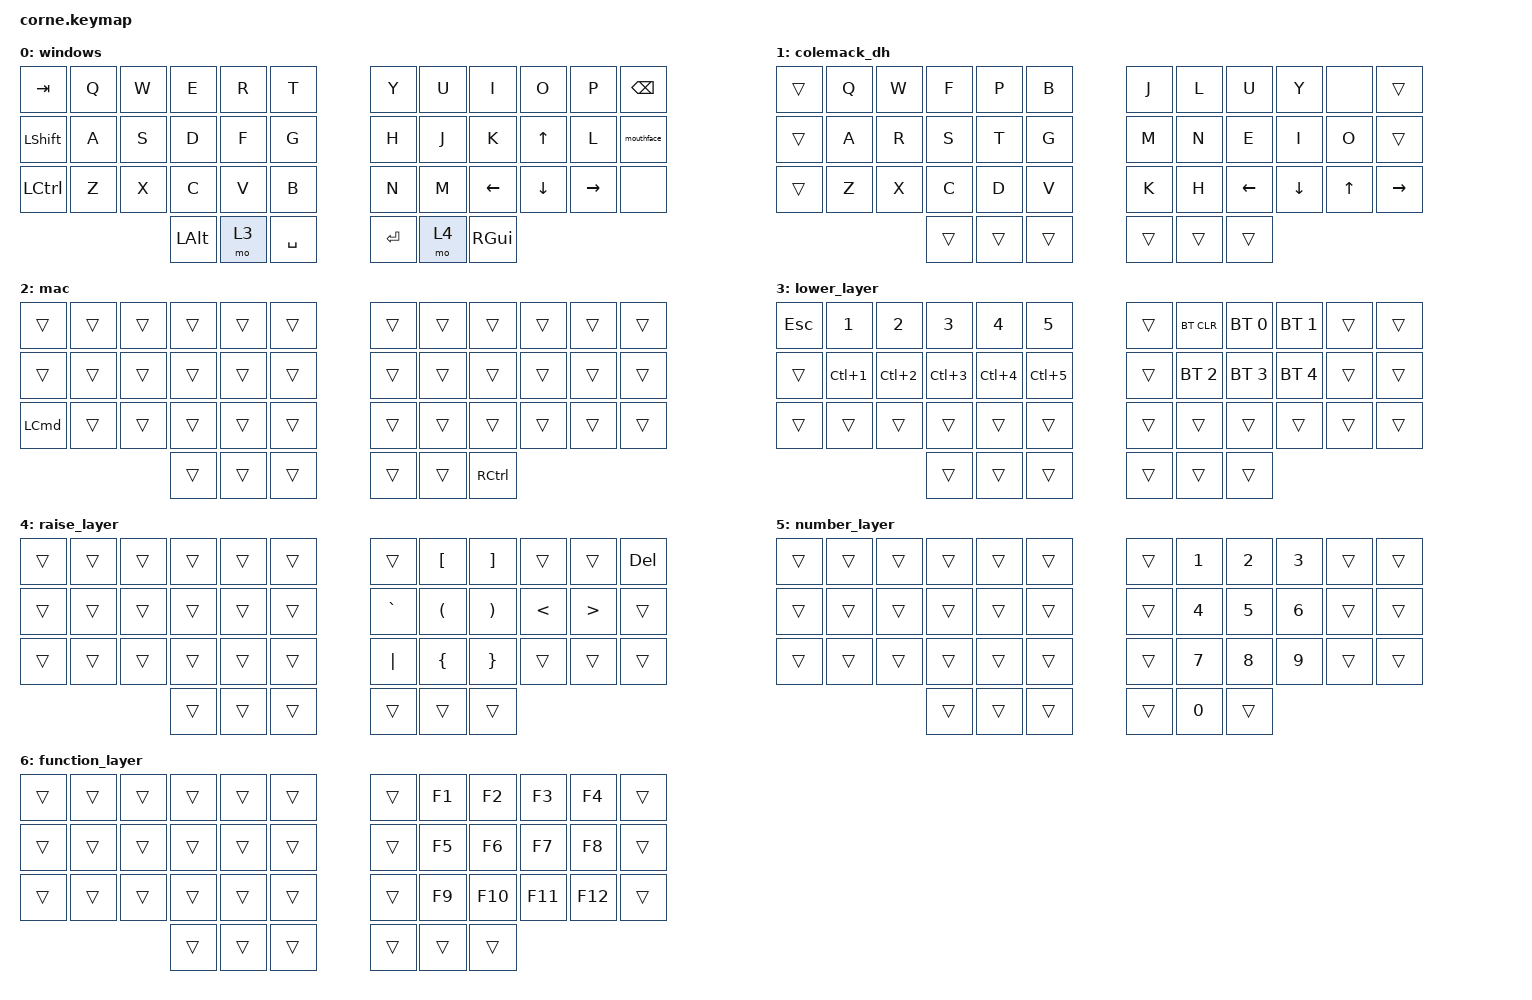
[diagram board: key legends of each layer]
/*
 * Copyright (c) 2020 The ZMK Contributors
 *
 * SPDX-License-Identifier: MIT
 */

#include <behaviors.dtsi>
#include <dt-bindings/zmk/bt.h>
#include <dt-bindings/zmk/keys.h>

/ {
    combos {
        compatible = "zmk,combos";

        layout_swap {
            bindings = <&tog 1>;
            key-positions = <37 40>;
            layers = <0 1 2>;
        };

        number_layer {
            bindings = <&mo 5>;
            key-positions = <15 16>;
            layers = <0 1 2>;
        };

        function_layer {
            bindings = <&mo 6>;
            key-positions = <4 5>;
            layers = <0 1 2>;
        };

        period {
            bindings = <&kp PERIOD>;
            key-positions = <21 22>;
        };

        comma {
            bindings = <&kp COMMA>;
            key-positions = <20 21>;
        };

        colon {
            bindings = <&kp COLON>;
            key-positions = <19 21 22>;
        };

        semicolon {
            bindings = <&kp SEMICOLON>;
            key-positions = <19 20 21>;
        };

        apostrophe {
            bindings = <&kp APOSTROPHE>;
            key-positions = <8 21>;
        };

        quote {
            bindings = <&kp DOUBLE_QUOTES>;
            key-positions = <7 21>;
        };

        underscore {
            bindings = <&kp UNDERSCORE>;
            key-positions = <30 31>;
        };

        minus {
            bindings = <&kp MINUS>;
            key-positions = <18 19>;
        };

        equals {
            bindings = <&kp EQUAL>;
            key-positions = <6 7>;
        };

        plus {
            bindings = <&kp PLUS>;
            key-positions = <18 19 20>;
        };

        forward_slash {
            bindings = <&kp SLASH>;
            key-positions = <31 20 9>;
        };

        backslash {
            bindings = <&kp BACKSLASH>;
            key-positions = <7 20 33>;
        };

        caret {
            bindings = <&kp CARET>;
            key-positions = <19 8 21>;
        };

        tilde {
            bindings = <&kp TILDE>;
            key-positions = <19 10>;
        };

        grave {
            bindings = <&kp GRAVE>;
            key-positions = <6 19>;
        };

        percent {
            bindings = <&kp PERCENT>;
            key-positions = <7 33>;
        };

        exclamation {
            bindings = <&kp EXCLAMATION>;
            key-positions = <7 8 21>;
        };

        question {
            bindings = <&kp QUESTION>;
            key-positions = <19 20 9>;
        };

        dollar_sign {
            bindings = <&kp DOLLAR>;
            key-positions = <31 32 9>;
        };

        at {
            bindings = <&kp AT>;
            key-positions = <7 20 21>;
        };

        asterisk {
            bindings = <&kp ASTERISK>;
            key-positions = <30 31 32>;
        };

        ampersand {
            bindings = <&kp AMPERSAND>;
            key-positions = <19 21>;
        };

        hashtag {
            bindings = <&kp POUND>;
            key-positions = <6 7 8>;
        };

        mac_layer {
            bindings = <&to 2>;
            key-positions = <13 27 31>;
            layers = <0 1>;
        };

        win_layer {
            bindings = <&to 0>;
            key-positions = <2 8 30>;
            layers = <1 2>;
        };

        left_reset {
            bindings = <&none>;
            key-positions = <1 14 27 16 5>;
        };

        right_reset {
            bindings = <&none>;
            key-positions = <6 19 32 21 10>;
        };

        undo {
            bindings = <&kp LC(Z)>;
            key-positions = <26 25>;
        };

        cut {
            bindings = <&kp LC(X)>;
            key-positions = <29 28>;
        };

        copy {
            bindings = <&kp LC(C)>;
            key-positions = <27 26>;
        };

        paste {
            bindings = <&kp LC(V)>;
            key-positions = <27 28>;
        };
    };

    macros {
        mouthface: mouthface {
            compatible = "zmk,behavior-macro";
            label = "MOUTHFACE";
            #binding-cells = <0>;
            bindings = <&kp COLON &kp E &kp Y &kp E &kp COLON &kp COLON &kp L &kp I &kp P &kp S &kp COLON &kp COLON &kp E &kp Y &kp E &kp COLON>;
        };
    };

    keymap {
        compatible = "zmk,keymap";

        windows {
            // -----------------------------------------------------------------------------------------
            // |  TAB |  Q  |  W  |  E  |  R  |  T  |   |  Y  |  U   |  I  |  O  |  P  | BKSP |
            // | CTRL |  A  |  S  |  D  |  F  |  G  |   |  H  |  J   |  K  |  L  |  ;  |  '   |
            // | SHFT |  Z  |  X  |  C  |  V  |  B  |   |  N  |  M   |  ,  |  .  |  /  | ESC  |
            //                    | GUI | LWR | SPC |   | ENT | RSE  | ALT |

            bindings = <
&kp TAB           &kp Q  &kp W  &kp E         &kp R  &kp T        &kp Y    &kp U  &kp I          &kp O     &kp P      &kp BSPC
&kp LSHIFT        &kp A  &kp S  &kp D         &kp F  &kp G        &kp H    &kp J  &kp K          &kp UP    &kp L      &mouthface
&kp LEFT_CONTROL  &kp Z  &kp X  &kp C         &kp V  &kp B        &kp N    &kp M  &kp LEFT       &kp DOWN  &kp RIGHT  &none
                                &kp LEFT_ALT  &mo 3  &kp SPACE    &kp RET  &mo 4  &kp RIGHT_GUI
            >;
        };

        colemack_dh {
            bindings = <
&trans  &kp Q  &kp W  &kp F   &kp P   &kp B     &kp J   &kp L   &kp U           &kp Y     &none   &trans
&trans  &kp A  &kp R  &kp S   &kp T   &kp G     &kp M   &kp N   &kp E           &kp I     &kp O   &trans
&trans  &kp Z  &kp X  &kp C   &kp D   &kp V     &kp K   &kp H   &kp LEFT_ARROW  &kp DOWN  &kp UP  &kp RIGHT
                      &trans  &trans  &trans    &trans  &trans  &trans
            >;
        };

        mac {
            bindings = <
&trans            &trans  &trans  &trans  &trans  &trans    &trans  &trans  &trans             &trans  &trans  &trans
&trans            &trans  &trans  &trans  &trans  &trans    &trans  &trans  &trans             &trans  &trans  &trans
&kp LEFT_COMMAND  &trans  &trans  &trans  &trans  &trans    &trans  &trans  &trans             &trans  &trans  &trans
                                  &trans  &trans  &trans    &trans  &trans  &kp RIGHT_CONTROL
            >;
        };

        lower_layer {
            // -----------------------------------------------------------------------------------------
            // |  TAB |  1  |  2  |  3  |  4  |  5  |   |  6  |  7  |  8  |  9  |  0  | BKSP |
            // | BTCLR| BT1 | BT2 | BT3 | BT4 | BT5 |   | LFT | DWN |  UP | RGT |     |      |
            // | SHFT |     |     |     |     |     |   |     |     |     |     |     |      |
            //                    | GUI |     | SPC |   | ENT |     | ALT |

            bindings = <
&kp ESCAPE  &kp NUMBER_1      &kp N2            &kp NUMBER_3      &kp N4            &kp NUMBER_5        &trans  &bt BT_CLR    &bt BT_SEL 0  &bt BT_SEL 1  &trans  &trans
&trans      &kp LC(NUMBER_1)  &kp LC(NUMBER_2)  &kp LC(NUMBER_3)  &kp LC(NUMBER_4)  &kp LC(NUMBER_5)    &trans  &bt BT_SEL 2  &bt BT_SEL 3  &bt BT_SEL 4  &trans  &trans
&trans      &trans            &trans            &trans            &trans            &trans              &trans  &trans        &trans        &trans        &trans  &trans
                                                &trans            &trans            &trans              &trans  &trans        &trans
            >;
        };

        raise_layer {
            // -----------------------------------------------------------------------------------------
            // |  TAB |  !  |  @  |  #  |  $  |  %  |   |  ^  |  &  |  *  |  (  |  )  | BKSP |
            // | CTRL |     |     |     |     |     |   |  -  |  =  |  [  |  ]  |  \  |  `   |
            // | SHFT |     |     |     |     |     |   |  _  |  +  |  {  |  }  | "|" |  ~   |
            //                    | GUI |     | SPC |   | ENT |     | ALT |

            bindings = <
&trans  &trans  &trans  &trans  &trans  &trans    &trans     &kp LEFT_BRACKET      &kp RIGHT_BRACKET      &trans         &trans            &kp DELETE
&trans  &trans  &trans  &trans  &trans  &trans    &kp GRAVE  &kp LEFT_PARENTHESIS  &kp RIGHT_PARENTHESIS  &kp LESS_THAN  &kp GREATER_THAN  &trans
&trans  &trans  &trans  &trans  &trans  &trans    &kp PIPE   &kp LEFT_BRACE        &kp RIGHT_BRACE        &trans         &trans            &trans
                        &trans  &trans  &trans    &trans     &trans                &trans
            >;
        };

        number_layer {
            bindings = <
&trans  &trans  &trans  &trans  &trans  &trans    &trans  &kp NUMBER_1  &kp NUMBER_2  &kp NUMBER_3  &trans  &trans
&trans  &trans  &trans  &trans  &trans  &trans    &trans  &kp NUMBER_4  &kp NUMBER_5  &kp NUMBER_6  &trans  &trans
&trans  &trans  &trans  &trans  &trans  &trans    &trans  &kp NUMBER_7  &kp NUMBER_8  &kp NUMBER_9  &trans  &trans
                        &trans  &trans  &trans    &trans  &kp NUMBER_0  &trans
            >;
        };

        function_layer {
            bindings = <
&trans  &trans  &trans  &trans  &trans  &trans    &trans  &kp F1  &kp F2   &kp F3   &kp F4   &trans
&trans  &trans  &trans  &trans  &trans  &trans    &trans  &kp F5  &kp F6   &kp F7   &kp F8   &trans
&trans  &trans  &trans  &trans  &trans  &trans    &trans  &kp F9  &kp F10  &kp F11  &kp F12  &trans
                        &trans  &trans  &trans    &trans  &trans  &trans
            >;
        };
    };
};
